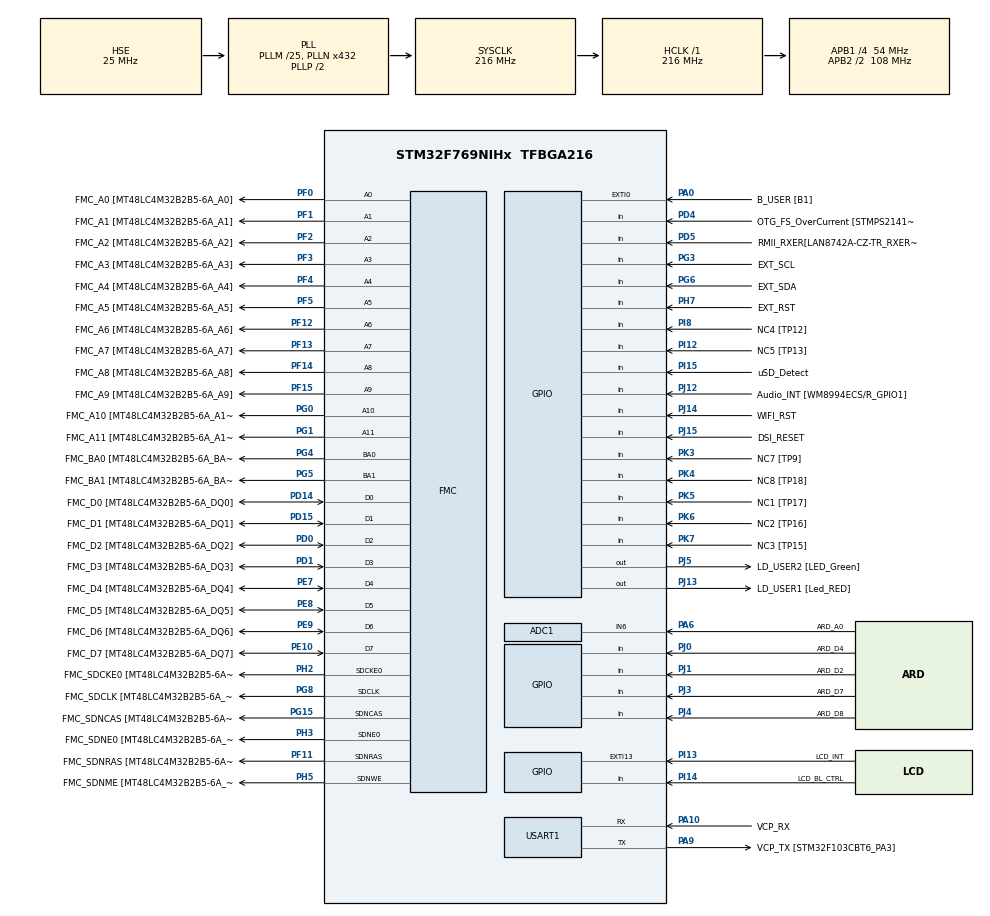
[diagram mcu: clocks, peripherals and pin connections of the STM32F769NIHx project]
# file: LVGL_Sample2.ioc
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ADC1.Channel-0\#ChannelRegularConversion=ADC_CHANNEL_6
ADC1.ClockPrescaler=ADC_CLOCK_SYNC_PCLK_DIV8
ADC1.NbrOfConversionFlag=1
ADC1.Rank-0\#ChannelRegularConversion=1
ADC1.Resolution=ADC_RESOLUTION_8B
ADC1.SamplingTime-0\#ChannelRegularConversion=ADC_SAMPLETIME_28CYCLES
ADC1.master=1
CORTEX_M7.ART_ACCELERATOR_ENABLE=1
CORTEX_M7.CPU_DCache=Enabled
CORTEX_M7.CPU_ICache=Enabled
CORTEX_M7.PREFETCH_ENABLE=1
DSIHOST_CKN.GPIO_Label=DSI_CK_N
DSIHOST_CKN.Mode=DSIHost_Standalone
DSIHOST_CKN.Signal=DSIHOST_CKN
DSIHOST_CKP.GPIO_Label=DSI_CK_P
DSIHOST_CKP.Mode=DSIHost_Standalone
DSIHOST_CKP.Signal=DSIHOST_CKP
DSIHOST_D0N.GPIO_Label=DSI_D0_N
DSIHOST_D0N.Mode=DSIHost_Standalone
DSIHOST_D0N.Signal=DSIHOST_D0N
DSIHOST_D0P.GPIO_Label=DSI_D0_p
DSIHOST_D0P.Mode=DSIHost_Standalone
DSIHOST_D0P.Signal=DSIHOST_D0P
DSIHOST_D1N.GPIO_Label=DSI_D1_N
DSIHOST_D1N.Mode=DSIHost_Standalone
DSIHOST_D1N.Signal=DSIHOST_D1N
DSIHOST_D1P.GPIO_Label=DSI_D1_P
DSIHOST_D1P.Mode=DSIHost_Standalone
DSIHOST_D1P.Signal=DSIHOST_D1P
Mcu.Family=STM32F7
Mcu.Name=STM32F769NIHx
Mcu.Package=TFBGA216
NVIC.ADC_IRQn=true\:0\:0\:false\:false\:true\:true\:true\:true
NVIC.DSI_IRQn=true\:0\:0\:false\:false\:true\:true\:false\:true
NVIC.PriorityGroup=NVIC_PRIORITYGROUP_4
PA0/WKUP.GPIO_Label=B_USER [B1]
PA0/WKUP.Signal=GPXTI0
PA1.GPIO_Label=RMII_REF_CLK [LAN8742A-CZ-TR_REFCLK0]
PA1.Signal=ETH_REF_CLK
PA10.GPIO_Label=VCP_RX 
PA10.Mode=Asynchronous
PA10.Signal=USART1_RX
PA11.GPIO_Label=SPI2_NSS
PA11.Signal=SPI2_NSS
PA12.GPIO_Label=ARD_D13/SCK
PA12.GPIO_Mode=GPIO_MODE_AF_PP
PA12.GPIO_PuPd=GPIO_NOPULL
PA12.GPIO_Speed=GPIO_SPEED_FREQ_LOW
PA12.Signal=SPI2_SCK
PA13.GPIO_Label=SWDIO
PA13.Mode=Serial_Wire
PA13.Signal=SYS_JTMS-SWDIO
PA14.GPIO_Label=SWCLK
PA14.Mode=Serial_Wire
PA14.Signal=SYS_JTCK-SWCLK
PA15.GPIO_Label=CEC
PA15.Signal=CEC
PA2.GPIO_Label=RMII_MDIO [LAN8742A-CZ-TR_MDIO]
PA2.Signal=ETH_MDIO
PA3.GPIO_Label=ULPI_D0 [USB3320C-EZK_D0]
PA3.Signal=USB_OTG_HS_ULPI_D0
PA4.GPIO_Label=ARD_A1
PA4.Signal=ADCx_IN4
PA5.GPIO_Label=ULPI_CLK [USB3320C-EZK_CLKOUT]
PA5.Signal=USB_OTG_HS_ULPI_CK
PA6.GPIO_Label=ARD_A0
PA6.Signal=ADCx_IN6
PA7.GPIO_Label=RMII_CRS_DV [LAN8742A-CZ-TR_CRS_DV]
PA7.Signal=ETH_CRS_DV
PA8.GPIO_Label=CEC_CLK [TP2]
PA8.Signal=RCC_MCO_1
PA9.GPIO_Label=VCP_TX [STM32F103CBT6_PA3]
PA9.GPIO_Mode=GPIO_MODE_AF_PP
PA9.GPIO_PuPd=GPIO_NOPULL
PA9.GPIO_Speed=GPIO_SPEED_FREQ_LOW
PA9.Mode=Asynchronous
PA9.Signal=USART1_TX
PB0.GPIO_Label=ULPI_D1 [USB3320C-EZK_D1]
PB0.Signal=USB_OTG_HS_ULPI_D1
PB1.GPIO_Label=ULPI_D2 [USB3320C-EZK_D2]
PB1.Signal=USB_OTG_HS_ULPI_D2
PB10.GPIO_Label=ULPI_D3 [USB3320C-EZK_D3]
PB10.Signal=USB_OTG_HS_ULPI_D3
PB11.GPIO_Label=ULPI_D4 [USB3320C-EZK_D4]
PB11.Signal=USB_OTG_HS_ULPI_D4
PB12.GPIO_Label=ULPI_D5 [USB3320C-EZK_D5]
PB12.Signal=USB_OTG_HS_ULPI_D5
PB13.GPIO_Label=ULPI_D6 [USB3320C-EZK_D6]
PB13.Signal=USB_OTG_HS_ULPI_D6
PB14.GPIO_Label=ARDUINO MISO/D12
PB14.GPIO_Mode=GPIO_MODE_AF_PP
PB14.GPIO_PuPd=GPIO_NOPULL
PB14.GPIO_Speed=GPIO_SPEED_FREQ_LOW
PB14.Signal=SPI2_MISO
PB15.GPIO_Label=ARDUINO MOSI/PWM/D11
PB15.GPIO_Mode=GPIO_MODE_AF_PP
PB15.GPIO_PuPd=GPIO_NOPULL
PB15.GPIO_Speed=GPIO_SPEED_FREQ_LOW
PB15.Signal=SPI2_MOSI
PB2.Signal=QUADSPI_CLK
PB3.GPIO_Label=uSD_D2
PB3.Signal=SDMMC2_D2
PB4.GPIO_Label=uSD_D3
PB4.Signal=SDMMC2_D3
PB5.GPIO_Label=ULPI_D7 [USB3320C-EZK_D7]
PB5.Signal=USB_OTG_HS_ULPI_D7
PB6.GPIO_Label=QSPI_NCS [N25Q128A13EF840E_S]
PB6.Signal=QUADSPI_BK1_NCS
PB7.GPIO_Label=AUDIO_SDA [WM8994ECS/R_SDA]
PB7.Signal=I2C4_SDA
PB8.GPIO_Label=ARDUINO SCL/D15
PB8.GPIO_Mode=GPIO_MODE_AF_OD
PB8.GPIO_PuPd=GPIO_NOPULL
PB8.GPIO_Speed=GPIO_SPEED_FREQ_LOW
PB8.Signal=I2C1_SCL
PB9.GPIO_Label=ARDUINO SDA/D14
PB9.GPIO_Mode=GPIO_MODE_AF_OD
PB9.GPIO_PuPd=GPIO_NOPULL
PB9.GPIO_Speed=GPIO_SPEED_FREQ_LOW
PB9.Signal=I2C1_SDA
PC0.GPIO_Label=ULPI_STP [USB3320C-EZK_STP]
PC0.Signal=USB_OTG_HS_ULPI_STP
PC1.GPIO_Label=RMII_MDC [LAN8742A-CZ-TR_MDC]
PC1.Signal=ETH_MDC
PC10.GPIO_Label=QSPI_D1 [MT25QL512ABB1EW9_DQ1]
PC10.Signal=QUADSPI_BK1_IO1
PC11.GPIO_Label=DFSDM_DATIN5 [TP100]
PC11.Signal=S_DATAIN5DFSDM1
PC12.GPIO_Label=WIFI_RX
PC12.Signal=UART5_TX
PC14/OSC32_IN.GPIO_Label=RCC_OSC32_IN
PC14/OSC32_IN.Signal=RCC_OSC32_IN
PC15/OSC32_OUT.GPIO_Label=RCC_OSC32_OUT
PC15/OSC32_OUT.Signal=RCC_OSC32_OUT
PC2.GPIO_Label=ARD_A2
PC2.Signal=ADCx_IN12
PC3.GPIO_Label=DFSDM_DATIN1 [TP101]
PC3.Signal=S_DATAIN1DFSDM1
PC4.GPIO_Label=RMII_RXD0 [LAN8742A-CZ-TR_RXD0]
PC4.Signal=ETH_RXD0
PC5.GPIO_Label=RMII_RXD1 [LAN8742A-CZ-TR_RXD1]
PC5.Signal=ETH_RXD1
PC6.GPIO_Label=ARDUINO TX/D1
PC6.Signal=USART6_TX
PC7.GPIO_Label=ARD_D0/RX
PC7.Signal=USART6_RX
PC8.GPIO_Label=ARD_D5/PWM
PC8.Signal=S_TIM3_CH3
PC9.GPIO_Label=QSPI_D0 [N25Q128A13EF840E_DQ0]
PC9.Signal=QUADSPI_BK1_IO0
PD0.GPIO_Label=FMC_D2 [MT48LC4M32B2B5-6A_DQ2]
PD0.Signal=FMC_D2_DA2
PD1.GPIO_Label=FMC_D3 [MT48LC4M32B2B5-6A_DQ3]
PD1.Signal=FMC_D3_DA3
PD10.GPIO_Label=FMC_D15 [MT48LC4M32B2B5-6A_DQ15]
PD10.Signal=FMC_D15_DA15
PD11.GPIO_Label=SPDIF_TX [TP20]
PD11.Signal=SAI2_SD_A
PD12.GPIO_Label=AUDIO_SCL [WM8994ECS/R_SCLK]
PD12.Signal=I2C4_SCL
PD13.GPIO_Label=QSPI_D3 [N25Q128A13EF840E_DQ3]
PD13.Signal=QUADSPI_BK1_IO3
PD14.GPIO_Label=FMC_D0 [MT48LC4M32B2B5-6A_DQ0]
PD14.Signal=FMC_D0_DA0
PD15.GPIO_Label=FMC_D1 [MT48LC4M32B2B5-6A_DQ1]
PD15.Signal=FMC_D1_DA1
PD2.GPIO_Label=WIFI_TX
PD2.Signal=UART5_RX
PD3.GPIO_Label=DFSDM_CKOUT [TP102]
PD3.Signal=S_CKOUTDFSDM1
PD4.GPIO_Label=OTG_FS_OverCurrent [STMPS2141STR_Fault]
PD4.Signal=GPIO_Input
PD5.GPIO_Label=RMII_RXER[LAN8742A-CZ-TR_RXERR]
PD5.Signal=GPIO_Input
PD6.GPIO_Label=uSD_CLK
PD6.Signal=SDMMC2_CK
PD7.GPIO_Label=uSD_CMD
PD7.Signal=SDMMC2_CMD
PD8.GPIO_Label=FMC_D13 [MT48LC4M32B2B5-6A_DQ13]
PD8.Signal=FMC_D13_DA13
PD9.GPIO_Label=FMC_D14 [MT48LC4M32B2B5-6A_DQ14]
PD9.Signal=FMC_D14_DA14
PE0.GPIO_Label=FMC_NBL0 [MT48LC4M32B2B5-6A_DQM0]
PE0.Signal=FMC_NBL0
PE1.GPIO_Label=FMC_NBL1 [MT48LC4M32B2B5-6A_DQM1]
PE1.Signal=FMC_NBL1
PE10.GPIO_Label=FMC_D7 [MT48LC4M32B2B5-6A_DQ7]
PE10.Signal=FMC_D7_DA7
PE11.GPIO_Label=FMC_D8 [MT48LC4M32B2B5-6A_DQ8]
PE11.Signal=FMC_D8_DA8
PE12.GPIO_Label=FMC_D9 [MT48LC4M32B2B5-6A_DQ9]
PE12.Signal=FMC_D9_DA9
PE13.GPIO_Label=FMC_D10 [MT48LC4M32B2B5-6A_DQ10]
PE13.Signal=FMC_D10_DA10
PE14.GPIO_Label=FMC_D11 [MT48LC4M32B2B5-6A_DQ11]
PE14.Signal=FMC_D11_DA11
PE15.GPIO_Label=FMC_D12 [MT48LC4M32B2B5-6A_DQ12]
PE15.Signal=FMC_D12_DA12
PE2.GPIO_Label=QSPI_D2 [N25Q128A13EF840E_DQ2]
PE2.Signal=QUADSPI_BK1_IO2
PE3.GPIO_Label=SAI1_SDB [WM8994ECS/R_ADCDAT1]
PE3.Signal=SAI1_SD_B
PE4.GPIO_Label=SAI1_FSA [WM8994ECS/R_LRCLK1]
PE4.Signal=SAI1_FS_A
PE5.GPIO_Label=SAI1_SCKA [WM8994ECS/R_BCLK1]
PE5.Signal=SAI1_SCK_A
PE6.GPIO_Label=SAI1_SDA [WM8994ECS/R_DACDAT1]
PE6.Signal=SAI1_SD_A
PE7.GPIO_Label=FMC_D4 [MT48LC4M32B2B5-6A_DQ4]
PE7.Signal=FMC_D4_DA4
PE8.GPIO_Label=FMC_D5 [MT48LC4M32B2B5-6A_DQ5]
PE8.Signal=FMC_D5_DA5
PE9.GPIO_Label=FMC_D6 [MT48LC4M32B2B5-6A_DQ6]
PE9.Signal=FMC_D6_DA6
PF0.GPIO_Label=FMC_A0 [MT48LC4M32B2B5-6A_A0]
PF0.Signal=FMC_A0
PF1.GPIO_Label=FMC_A1 [MT48LC4M32B2B5-6A_A1]
PF1.Signal=FMC_A1
PF10.GPIO_Label=ARDUINO A1
PF10.GPIO_Mode=GPIO_MODE_ANALOG
PF10.GPIO_PuPd=GPIO_NOPULL
PF10.Signal=ADC3_IN8
PF11.GPIO_Label=FMC_SDNRAS [MT48LC4M32B2B5-6A_RAS]
PF11.Signal=FMC_SDNRAS
PF12.GPIO_Label=FMC_A6 [MT48LC4M32B2B5-6A_A6]
PF12.Signal=FMC_A6
PF13.GPIO_Label=FMC_A7 [MT48LC4M32B2B5-6A_A7]
PF13.Signal=FMC_A7
PF14.GPIO_Label=FMC_A8 [MT48LC4M32B2B5-6A_A8]
PF14.Signal=FMC_A8
PF15.GPIO_Label=FMC_A9 [MT48LC4M32B2B5-6A_A9]
PF15.Signal=FMC_A9
PF2.GPIO_Label=FMC_A2 [MT48LC4M32B2B5-6A_A2]
PF2.Signal=FMC_A2
PF3.GPIO_Label=FMC_A3 [MT48LC4M32B2B5-6A_A3]
PF3.Signal=FMC_A3
PF4.GPIO_Label=FMC_A4 [MT48LC4M32B2B5-6A_A4]
PF4.Signal=FMC_A4
PF5.GPIO_Label=FMC_A5 [MT48LC4M32B2B5-6A_A5]
PF5.Signal=FMC_A5
PF6.GPIO_Label=ARD_D3/PWM
PF6.Signal=S_TIM10_CH1
PF7.GPIO_Label=ARD_D6/PWM
PF7.Signal=S_TIM11_CH1
PF8.GPIO_Label=ARDUINO A3
PF8.GPIO_Mode=GPIO_MODE_ANALOG
PF8.GPIO_PuPd=GPIO_NOPULL
PF8.Signal=ADC3_IN6
PF9.GPIO_Label=ARDUINO A2
PF9.GPIO_Mode=GPIO_MODE_ANALOG
PF9.GPIO_PuPd=GPIO_NOPULL
PF9.Signal=ADC3_IN7
PG0.GPIO_Label=FMC_A10 [MT48LC4M32B2B5-6A_A10]
PG0.Signal=FMC_A10
PG1.GPIO_Label=FMC_A11 [MT48LC4M32B2B5-6A_A11]
PG1.Signal=FMC_A11
PG10.GPIO_Label=uSD_D1
PG10.Signal=SDMMC2_D1
PG11.GPIO_Label=RMII_TX_EN [LAN8742A-CZ-TR_TXEN]
PG11.Signal=ETH_TX_EN
PG12.GPIO_Label=SPDIF_RX [74LVC1G04SE_4]
PG12.Signal=SPDIFRX_IN1
PG13.GPIO_Label=RMII_TXD0 [LAN8742A-CZ-TR_TXD0]
PG13.Signal=ETH_TXD0
PG14.GPIO_Label=RMII_TXD1 [LAN8742A-CZ-TR_TXD1]
PG14.Signal=ETH_TXD1
PG15.GPIO_Label=FMC_SDNCAS [MT48LC4M32B2B5-6A_CAS]
PG15.Signal=FMC_SDNCAS
PG2.GPIO_Label=FMC_A12
PG2.Signal=FMC_A12
PG3.GPIO_Label=EXT_SCL
PG3.Signal=GPIO_Input
PG4.GPIO_Label=FMC_BA0 [MT48LC4M32B2B5-6A_BA0]
PG4.Signal=FMC_A14_BA0
PG5.GPIO_Label=FMC_BA1 [MT48LC4M32B2B5-6A_BA1]
PG5.Signal=FMC_A15_BA1
PG6.GPIO_Label=EXT_SDA
PG6.Signal=GPIO_Input
PG7.GPIO_Label=SAI1_MCLKA [WM8994ECS/R_MCLK1]
PG7.Signal=SAI1_MCLK_A
PG8.GPIO_Label=FMC_SDCLK [MT48LC4M32B2B5-6A_CLK]
PG8.Signal=FMC_SDCLK
PG9.GPIO_Label=uSD_D0
PG9.Signal=SDMMC2_D0
PH0/OSC_IN.GPIO_Label=OSC_25M [NZ2520SB-25.00M_OUT]
PH0/OSC_IN.Mode=HSE-External-Oscillator
PH0/OSC_IN.Signal=RCC_OSC_IN
PH1/OSC_OUT.Mode=HSE-External-Oscillator
PH1/OSC_OUT.Signal=RCC_OSC_OUT
PH10.GPIO_Label=FMC_D18 [MT48LC4M32B2B5-6A_DQ18]
PH10.Signal=FMC_D18
PH11.GPIO_Label=FMC_D19 [MT48LC4M32B2B5-6A_DQ19]
PH11.Signal=FMC_D19
PH12.GPIO_Label=D20
PH12.Signal=FMC_D20
PH13.GPIO_Label=D21
PH13.Signal=FMC_D21
PH14.GPIO_Label=D22
PH14.Signal=FMC_D22
PH15.GPIO_Label=D23
PH15.Signal=FMC_D23
PH2.GPIO_Label=FMC_SDCKE0 [MT48LC4M32B2B5-6A_CKE]
PH2.Mode=SdramChipSelect1_1
PH2.Signal=FMC_SDCKE0
PH3.GPIO_Label=FMC_SDNE0 [MT48LC4M32B2B5-6A_CS]
PH3.Mode=SdramChipSelect1_1
PH3.Signal=FMC_SDNE0
PH4.GPIO_Label=ULPI_NXT [USB3320C-EZK_NXT]
PH4.Signal=USB_OTG_HS_ULPI_NXT
PH5.GPIO_Label=FMC_SDNME [MT48LC4M32B2B5-6A_WE]
PH5.Signal=FMC_SDNWE
PH6.GPIO_Label=ARDUINO PWM/D6
PH6.Signal=S_TIM12_CH1
PH7.GPIO_Label=EXT_RST
PH7.Signal=GPIO_Input
PH8.GPIO_Label=FMC_D16 [MT48LC4M32B2B5-6A_DQ16]
PH8.Signal=FMC_D16
PH9.GPIO_Label=FMC_D\!7 [MT48LC4M32B2B5-6A_DQ17]
PH9.Signal=FMC_D17
PI0.GPIO_Label=D24
PI0.Signal=FMC_D24
PI1.GPIO_Label=D25
PI1.Signal=FMC_D25
PI10.GPIO_Label=D31
PI10.Signal=FMC_D31
PI11.GPIO_Label=ULPI_DIR [USB3320C-EZK_DIR]
PI11.Signal=USB_OTG_HS_ULPI_DIR
PI12.GPIO_Label=NC5 [TP13]
PI12.Signal=GPIO_Input
PI13.GPIO_Label=LCD_INT
PI13.GPIO_ModeDefaultEXTI=GPIO_MODE_EVT_RISING
PI13.Signal=GPXTI13
PI14.GPIO_Label=LCD_BL_CTRL
PI14.Signal=GPIO_Input
PI15.GPIO_Label=uSD_Detect
PI15.Signal=GPIO_Input
PI2.GPIO_Label=D26
PI2.Signal=FMC_D26
PI3.GPIO_Label=D27
PI3.Signal=FMC_D27
PI4.GPIO_Label=FMC_NBL2 [MT48LC4M32B2B5-6A_DQM2]
PI4.Signal=FMC_NBL2
PI5.GPIO_Label=FMC_NBL3 [MT48LC4M32B2B5-6A_DQM3]
PI5.Signal=FMC_NBL3
PI6.GPIO_Label=D28
PI6.Signal=FMC_D28
PI7.GPIO_Label=D29
PI7.Signal=FMC_D29
PI8.GPIO_Label=NC4 [TP12]
PI8.Signal=GPIO_Input
PI9.GPIO_Label=D30
PI9.Signal=FMC_D30
PJ0.GPIO_Label=ARD_D4
PJ0.Signal=GPIO_Input
PJ1.GPIO_Label=ARD_D2
PJ1.Signal=GPIO_Input
PJ12.GPIO_Label=Audio_INT [WM8994ECS/R_GPIO1]
PJ12.Signal=GPIO_Input
PJ13.GPIO_Label=LD_USER1 [Led_RED]
PJ13.Signal=GPIO_Output
PJ14.GPIO_Label=WIFI_RST
PJ14.Signal=GPIO_Input
PJ15.GPIO_Label=DSI_RESET
PJ15.Signal=GPIO_Input
PJ2.GPIO_Label=DSIHOST_TE
PJ2.Signal=DSIHOST_TE
PJ3.GPIO_Label=ARD_D7
PJ3.Signal=GPIO_Input
PJ4.GPIO_Label=ARD_D8
PJ4.Signal=GPIO_Input
PJ5.GPIO_Label=LD_USER2 [LED_Green]
PJ5.Signal=GPIO_Output
PK3.GPIO_Label=NC7 [TP9]
PK3.Signal=GPIO_Input
PK4.GPIO_Label=NC8 [TP18]
PK4.Signal=GPIO_Input
PK5.GPIO_Label=NC1 [TP17]
PK5.Signal=GPIO_Input
PK6.GPIO_Label=NC2 [TP16]
PK6.Signal=GPIO_Input
PK7.GPIO_Label=NC3 [TP15]
PK7.Signal=GPIO_Input
ProjectManager.HeapSize=0x200
ProjectManager.StackSize=0xC00
ProjectManager.TargetToolchain=STM32CubeIDE
RCC.AHBFreq_Value=216000000
RCC.APB1CLKDivider=RCC_HCLK_DIV4
RCC.APB1Freq_Value=54000000
RCC.APB1TimFreq_Value=108000000
RCC.APB2CLKDivider=RCC_HCLK_DIV2
RCC.APB2Freq_Value=108000000
RCC.APB2TimFreq_Value=216000000
RCC.CortexFreq_Value=216000000
RCC.HCLKFreq_Value=216000000
RCC.HSE_VALUE=25000000
RCC.HSI_VALUE=16000000
RCC.LSE_VALUE=32768
RCC.PLLM=25
RCC.PLLN=432
RCC.PLLQ=4
RCC.PLLR=7
RCC.PLLSAIQ=3
RCC.PLLSourceVirtual=RCC_PLLSOURCE_HSE
RCC.SYSCLKFreq_VALUE=216000000
RCC.SYSCLKSource=RCC_SYSCLKSOURCE_PLLCLK
RCC.USBFreq_Value=108000000
RCC.VCOOutputFreq_Value=432000000
SH.ADCx_IN12.0=ADC1_IN12
SH.ADCx_IN4.0=ADC1_IN4
SH.ADCx_IN6.0=ADC1_IN6,IN6
SH.FMC_A0.0=FMC_A0,12b-sda1
SH.FMC_A1.0=FMC_A1,12b-sda1
SH.FMC_A10.0=FMC_A10,12b-sda1
SH.FMC_A11.0=FMC_A11,12b-sda1
SH.FMC_A12.0=FMC_A12
SH.FMC_A14_BA0.0=FMC_BA0,FourSdramBanks1
SH.FMC_A15_BA1.0=FMC_BA1,FourSdramBanks1
SH.FMC_A2.0=FMC_A2,12b-sda1
SH.FMC_A3.0=FMC_A3,12b-sda1
SH.FMC_A4.0=FMC_A4,12b-sda1
SH.FMC_A5.0=FMC_A5,12b-sda1
SH.FMC_A6.0=FMC_A6,12b-sda1
SH.FMC_A7.0=FMC_A7,12b-sda1
SH.FMC_A8.0=FMC_A8,12b-sda1
SH.FMC_A9.0=FMC_A9,12b-sda1
SH.FMC_D0_DA0.0=FMC_D0,sd-8b-d1
SH.FMC_D10_DA10.0=FMC_D10
SH.FMC_D11_DA11.0=FMC_D11
SH.FMC_D12_DA12.0=FMC_D12
SH.FMC_D13_DA13.0=FMC_D13
SH.FMC_D14_DA14.0=FMC_D14
SH.FMC_D15_DA15.0=FMC_D15
SH.FMC_D16.0=FMC_D16
SH.FMC_D17.0=FMC_D17
SH.FMC_D18.0=FMC_D18
SH.FMC_D19.0=FMC_D19
SH.FMC_D1_DA1.0=FMC_D1,sd-8b-d1
SH.FMC_D20.0=FMC_D20
SH.FMC_D21.0=FMC_D21
SH.FMC_D22.0=FMC_D22
SH.FMC_D23.0=FMC_D23
SH.FMC_D24.0=FMC_D24
SH.FMC_D25.0=FMC_D25
SH.FMC_D26.0=FMC_D26
SH.FMC_D27.0=FMC_D27
SH.FMC_D28.0=FMC_D28
SH.FMC_D29.0=FMC_D29
SH.FMC_D2_DA2.0=FMC_D2,sd-8b-d1
SH.FMC_D30.0=FMC_D30
SH.FMC_D31.0=FMC_D31
SH.FMC_D3_DA3.0=FMC_D3,sd-8b-d1
SH.FMC_D4_DA4.0=FMC_D4,sd-8b-d1
SH.FMC_D5_DA5.0=FMC_D5,sd-8b-d1
SH.FMC_D6_DA6.0=FMC_D6,sd-8b-d1
SH.FMC_D7_DA7.0=FMC_D7,sd-8b-d1
SH.FMC_D8_DA8.0=FMC_D8
SH.FMC_D9_DA9.0=FMC_D9
SH.FMC_NBL0.0=FMC_NBL0
SH.FMC_NBL1.0=FMC_NBL1
SH.FMC_NBL2.0=FMC_NBL2
SH.FMC_NBL3.0=FMC_NBL3
SH.FMC_SDCLK.0=FMC_SDCLK,12b-sda1
SH.FMC_SDNCAS.0=FMC_SDNCAS,12b-sda1
SH.FMC_SDNRAS.0=FMC_SDNRAS,12b-sda1
SH.FMC_SDNWE.0=FMC_SDNWE,12b-sda1
SH.S_CKOUTDFSDM1.0=DFSDM1_CKOUT
SH.S_DATAIN1DFSDM1.0=DFSDM1_DATIN1
SH.S_DATAIN5DFSDM1.0=DFSDM1_DATIN5
SH.S_TIM10_CH1.0=TIM10_CH1
SH.S_TIM11_CH1.0=TIM11_CH1
SH.S_TIM12_CH1.0=TIM12_CH1
SH.S_TIM3_CH3.0=TIM3_CH3
USART1.VirtualMode-Asynchronous=VM_ASYNC
VP_DMA2D_VS_DMA2D.Mode=DMA2D_Activate
VP_LTDC_DSIMode.Mode=RGB888
board=STM32F769I-DISCO

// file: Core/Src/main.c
/* USER CODE BEGIN Header */
/**
  ******************************************************************************
  * @file           : main.c
  * @brief          : Main program body
  ******************************************************************************
  * @attention
  *
  * Copyright (c) 2022 STMicroelectronics.
  * All rights reserved.
  *
  * This software is licensed under terms that can be found in the LICENSE file
  * in the root directory of this software component.
  * If no LICENSE file comes with this software, it is provided AS-IS.
  *
  ******************************************************************************
  */
/* USER CODE END Header */
#include "main.h"

/* USER CODE BEGIN Includes */
#include "hal_stm_lvgl/tft/tft.h"
#include "hal_stm_lvgl/touchpad/touchpad.h"
#include "lvgl/lvgl.h"

#include "lvgl/examples/lv_examples.h"
#include "lvgl/demos/lv_demos.h"
#include "display_mng.h"
/* USER CODE END Includes */

/* USER CODE BEGIN PM */
#define DEBUG_BUFFER_SIZE         (50u)

#define LED_TASK_TIME             (1000u) /* In milliseconds */
#define LVGL_TASK_TIME            (5u)    /* In milliseconds */
#define DISP_MNG_TASK_TIME        (100u)  /* In milliseconds */
#define TRIG_ADC_CONV_TASK_TIME   (100u)  /* In milliseconds */
#define DEBUG_PRINT_TASK_TIME     (1000u) /* In milliseconds */
/* USER CODE END PM */

ADC_HandleTypeDef hadc1;

UART_HandleTypeDef huart1;

/* USER CODE BEGIN PV */
static uint8_t led_state = FALSE;
static uint32_t led_timestamp = 0u;
static uint32_t lvgl_timestamp = 0u;
static uint32_t disp_mng_timestamp = 0u;
static uint32_t trig_adc_conv_timestamp = 0u;
static uint32_t debug_print_timestamp = 0u;

static uint8_t adc_data;
static uint8_t adc_busy = FALSE;
// ADC Triggering Task Time is 100ms, this means that to get 1 second counts
// we need to store 10 samples which are 100ms apart from each other
static uint8_t temp_sensor[10u] = { 0x00 };
static uint8_t temp_sensor_idx = 0u;
// the above samples are averaged and stored in the below array
static uint8_t temp_sensor_1sec[260] = { 0 };   // 320-60
static uint16_t temp_sensor_1sec_idx = 0u;

uint16_t dbg_size = 0u;
char dbg_buffer[DEBUG_BUFFER_SIZE] = { 0 };
/* USER CODE END PV */

void SystemClock_Config(void);
static void MX_ADC1_Init(void);
static void MX_USART1_UART_Init(void);

int main(void)
{

  /* USER CODE BEGIN 1 */
  uint16_t idx = 0;
  uint32_t temp = 0;
  /* USER CODE END 1 */

  /* Enable the CPU Cache */

  /* Enable I-Cache---------------------------------------------------------*/
  SCB_EnableICache();

  /* Enable D-Cache---------------------------------------------------------*/
  SCB_EnableDCache();

  /* MCU Configuration--------------------------------------------------------*/

  /* Reset of all peripherals, Initializes the Flash interface and the Systick. */
  HAL_Init();

  /* Configure the system clock */
  SystemClock_Config();

  /* Initialize all configured peripherals */
  MX_ADC1_Init();
  MX_USART1_UART_Init();
  /* USER CODE BEGIN 2 */
  lv_init();
  tft_init();
  touchpad_init();

  // lv_example_get_started_1();
  // lv_demo_widgets();
  led_state = FALSE;

  lvgl_timestamp = HAL_GetTick();
  led_timestamp = HAL_GetTick();
  trig_adc_conv_timestamp = HAL_GetTick();
  debug_print_timestamp = HAL_GetTick();
  // Start ADC Conversion
  HAL_ADC_Start_IT(&hadc1);

  /* USER CODE END 2 */

  /* Infinite loop */
  /* USER CODE BEGIN WHILE */
  while (1)
  {
    /* Task for Triggering ADC Conversion Start */
    if( HAL_GetTick() - trig_adc_conv_timestamp > TRIG_ADC_CONV_TASK_TIME )
    {
      // TODO: XS
      trig_adc_conv_timestamp = HAL_GetTick();
      if( adc_busy == TRUE )
      {
        // memset( dbg_buffer, 0x00, DEBUG_BUFFER_SIZE );
        // dbg_size = snprintf(dbg_buffer, DEBUG_BUFFER_SIZE, "Red = %d, Green = %d, Blue = %d \r\n", adc_data[0], adc_data[1], adc_data[2] );
        // dbg_size = snprintf(dbg_buffer, DEBUG_BUFFER_SIZE, "Temp.=%d, Idx=%d, millis=%ld\r\n", adc_data[3], temp_sensor_idx, HAL_GetTick() );
        // HAL_UART_Transmit(&huart1, (uint8_t*)dbg_buffer, dbg_size, 1000u);

        // Storing Temperature Data
        if( temp_sensor_idx < 10u )
        {
          // store the data in buffer
          temp_sensor[temp_sensor_idx] = adc_data;
          temp_sensor_idx++;
          // this means that 1 second is elapsed and the buffer is full now
          if( temp_sensor_idx >= 10u )
          {
            // reset the counter
            temp_sensor_idx = 0u;
            // now average the samples and store in 1 second array
            temp = 0u;
            // cumulative sum
            for( idx=0; idx<10u; idx++ )
            {
              temp = temp + temp_sensor[idx];
            }
            // averaging
            temp = temp/10u;
            if( temp_sensor_1sec_idx < 260u )
            {
              // convert data to temperature and store in array
              temp = (uint8_t)((uint16_t)((uint16_t)temp * (uint16_t)330)/255);
              temp_sensor_1sec[temp_sensor_1sec_idx] = (uint8_t)(temp);
              memset( dbg_buffer, 0x00, DEBUG_BUFFER_SIZE );
              dbg_size = snprintf(dbg_buffer, DEBUG_BUFFER_SIZE, "Index = %d, Temperature = %ld\r\n", temp_sensor_1sec_idx, temp );
              HAL_UART_Transmit(&huart1, (uint8_t*)dbg_buffer, dbg_size, 1000u);
              temp_sensor_1sec_idx++;
              if( temp_sensor_1sec_idx >= 260u )
              {
                // reset the index if buffer is full
                temp_sensor_1sec_idx = 0u;
              }
            }
          }
        }

        adc_busy = FALSE;
        // Trigger Conversion Again
        HAL_ADC_Start_IT(&hadc1);
      }
      else
      {
        // memset( dbg_buffer, 0x00, DEBUG_BUFFER_SIZE );
        // dbg_size = snprintf(dbg_buffer, DEBUG_BUFFER_SIZE, "%s\r\n", "ADC Busy Shouldn't Happen" );
        // HAL_UART_Transmit(&huart1, (uint8_t*)dbg_buffer, dbg_size, 1000u);
      }
    }

    /* Task for Printing debug information */
    if( HAL_GetTick() - debug_print_timestamp > DEBUG_PRINT_TASK_TIME )
    {
      debug_print_timestamp = HAL_GetTick();
      // TODO: XS for future
    }

    /* Task Display Manager */
    if( HAL_GetTick() - disp_mng_timestamp > DISP_MNG_TASK_TIME )
    {
      disp_mng_timestamp = HAL_GetTick();
      Display_Mng();
    }

    /* Task for LVGL */
    if( HAL_GetTick() - lvgl_timestamp > LVGL_TASK_TIME )
    {
      lvgl_timestamp = HAL_GetTick();
      lv_timer_handler();
    }

    /* Task for Leds */
    if( HAL_GetTick() - led_timestamp > LED_TASK_TIME )
    {
      led_timestamp = HAL_GetTick();
      if( led_state )
      {
        led_state = FALSE;
        /* Setting Pin High will turn off the Led */
        HAL_GPIO_WritePin(LD_USER1_GPIO_Port, LD_USER1_Pin, GPIO_PIN_RESET );
        HAL_GPIO_WritePin(LD_USER2_GPIO_Port, LD_USER2_Pin, GPIO_PIN_RESET );
      }
      else
      {
        led_state = TRUE;
        /* Setting Pin Low will turn on the Led */
        HAL_GPIO_WritePin(LD_USER1_GPIO_Port, LD_USER1_Pin, GPIO_PIN_SET );
        HAL_GPIO_WritePin(LD_USER2_GPIO_Port, LD_USER2_Pin, GPIO_PIN_SET );
      }
    }
    /* USER CODE END WHILE */

  }
}

void SystemClock_Config(void)
{
  RCC_OscInitTypeDef RCC_OscInitStruct = {0};
  RCC_ClkInitTypeDef RCC_ClkInitStruct = {0};

  /** Configure the main internal regulator output voltage
  */
  __HAL_RCC_PWR_CLK_ENABLE();
  __HAL_PWR_VOLTAGESCALING_CONFIG(PWR_REGULATOR_VOLTAGE_SCALE1);

  /** Initializes the RCC Oscillators according to the specified parameters
  * in the RCC_OscInitTypeDef structure.
  */
  RCC_OscInitStruct.OscillatorType = RCC_OSCILLATORTYPE_HSE;
  RCC_OscInitStruct.HSEState = RCC_HSE_ON;
  RCC_OscInitStruct.PLL.PLLState = RCC_PLL_ON;
  RCC_OscInitStruct.PLL.PLLSource = RCC_PLLSOURCE_HSE;
  RCC_OscInitStruct.PLL.PLLM = 25;
  RCC_OscInitStruct.PLL.PLLN = 432;
  RCC_OscInitStruct.PLL.PLLP = RCC_PLLP_DIV2;
  RCC_OscInitStruct.PLL.PLLQ = 4;
  RCC_OscInitStruct.PLL.PLLR = 7;
  if (HAL_RCC_OscConfig(&RCC_OscInitStruct) != HAL_OK)
  {
    Error_Handler();
  }

  /** Activate the Over-Drive mode
  */
  if (HAL_PWREx_EnableOverDrive() != HAL_OK)
  {
    Error_Handler();
  }

  /** Initializes the CPU, AHB and APB buses clocks
  */
  RCC_ClkInitStruct.ClockType = RCC_CLOCKTYPE_HCLK|RCC_CLOCKTYPE_SYSCLK
                              |RCC_CLOCKTYPE_PCLK1|RCC_CLOCKTYPE_PCLK2;
  RCC_ClkInitStruct.SYSCLKSource = RCC_SYSCLKSOURCE_PLLCLK;
  RCC_ClkInitStruct.AHBCLKDivider = RCC_SYSCLK_DIV1;
  RCC_ClkInitStruct.APB1CLKDivider = RCC_HCLK_DIV4;
  RCC_ClkInitStruct.APB2CLKDivider = RCC_HCLK_DIV2;

  if (HAL_RCC_ClockConfig(&RCC_ClkInitStruct, FLASH_LATENCY_7) != HAL_OK)
  {
    Error_Handler();
  }
}

static void MX_ADC1_Init(void)
{

  ADC_ChannelConfTypeDef sConfig = {0};

  /** Configure the global features of the ADC (Clock, Resolution, Data Alignment and number of conversion)
  */
  hadc1.Instance = ADC1;
  hadc1.Init.ClockPrescaler = ADC_CLOCK_SYNC_PCLK_DIV8;
  hadc1.Init.Resolution = ADC_RESOLUTION_8B;
  hadc1.Init.ScanConvMode = ADC_SCAN_DISABLE;
  hadc1.Init.ContinuousConvMode = DISABLE;
  hadc1.Init.DiscontinuousConvMode = DISABLE;
  hadc1.Init.ExternalTrigConvEdge = ADC_EXTERNALTRIGCONVEDGE_NONE;
  hadc1.Init.ExternalTrigConv = ADC_SOFTWARE_START;
  hadc1.Init.DataAlign = ADC_DATAALIGN_RIGHT;
  hadc1.Init.NbrOfConversion = 1;
  hadc1.Init.DMAContinuousRequests = DISABLE;
  hadc1.Init.EOCSelection = ADC_EOC_SINGLE_CONV;
  if (HAL_ADC_Init(&hadc1) != HAL_OK)
  {
    Error_Handler();
  }

  /** Configure for the selected ADC regular channel its corresponding rank in the sequencer and its sample time.
  */
  sConfig.Channel = ADC_CHANNEL_6;
  sConfig.Rank = ADC_REGULAR_RANK_1;
  sConfig.SamplingTime = ADC_SAMPLETIME_28CYCLES;
  if (HAL_ADC_ConfigChannel(&hadc1, &sConfig) != HAL_OK)
  {
    Error_Handler();
  }

}

static void MX_USART1_UART_Init(void)
{

  huart1.Instance = USART1;
  huart1.Init.BaudRate = 115200;
  huart1.Init.WordLength = UART_WORDLENGTH_8B;
  huart1.Init.StopBits = UART_STOPBITS_1;
  huart1.Init.Parity = UART_PARITY_NONE;
  huart1.Init.Mode = UART_MODE_TX_RX;
  huart1.Init.HwFlowCtl = UART_HWCONTROL_NONE;
  huart1.Init.OverSampling = UART_OVERSAMPLING_16;
  huart1.Init.OneBitSampling = UART_ONE_BIT_SAMPLE_DISABLE;
  huart1.AdvancedInit.AdvFeatureInit = UART_ADVFEATURE_NO_INIT;
  if (HAL_UART_Init(&huart1) != HAL_OK)
  {
    Error_Handler();
  }

}

/* USER CODE BEGIN 4 */
/**
  * @brief  Regular conversion complete callback in non blocking mode
  * @param  hadc pointer to a ADC_HandleTypeDef structure that contains
  *         the configuration information for the specified ADC.
  * @retval None
  */
void HAL_ADC_ConvCpltCallback(ADC_HandleTypeDef* hadc)
{
  adc_data = HAL_ADC_GetValue(hadc);
  adc_busy = TRUE;
}

uint8_t * Display_GetTempData( void )
{
  return temp_sensor_1sec;
}

/* USER CODE END 4 */

void Error_Handler(void)
{
  __disable_irq();
  while (1)
  {
  }
}
